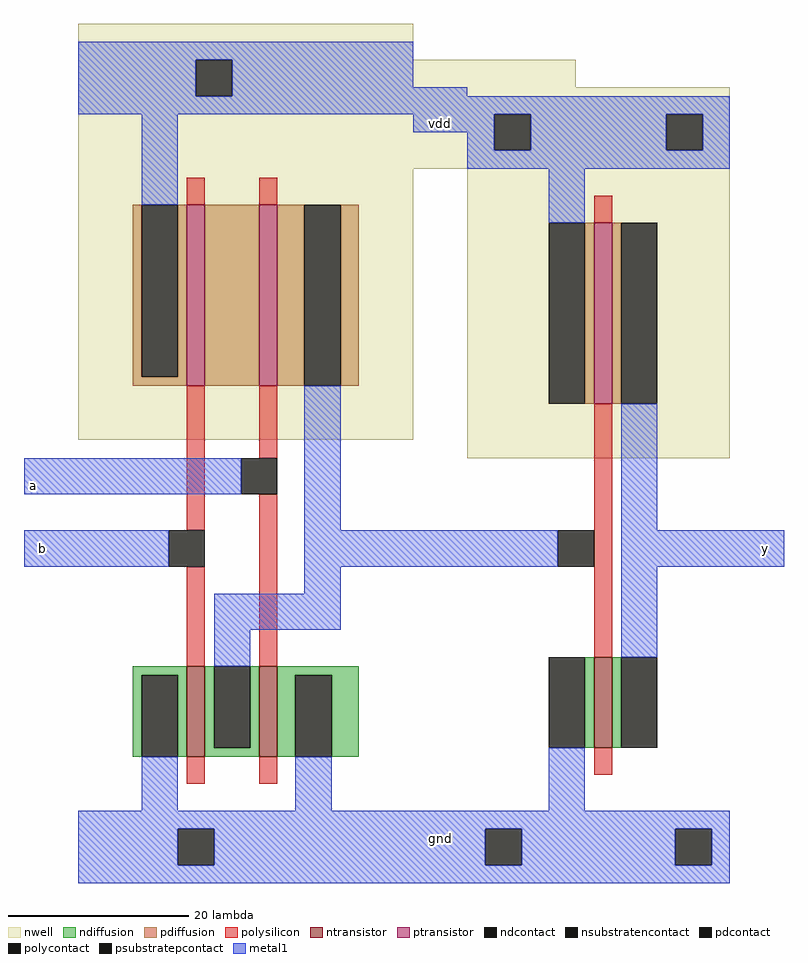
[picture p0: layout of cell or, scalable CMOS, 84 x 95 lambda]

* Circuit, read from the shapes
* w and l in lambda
.subckt or a b gnd vdd y
M1 inverter_0/IN b gnd gnd nfet w=10 l=2
M2 gnd a inverter_0/IN gnd nfet w=10 l=2
M3 y inverter_0/IN gnd gnd nfet w=10 l=2
M4 n1 b vdd vdd pfet w=20 l=2
M5 inverter_0/IN a n1 vdd pfet w=20 l=2
M6 y inverter_0/IN vdd vdd pfet w=20 l=2
.ends

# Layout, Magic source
magic
tech scmos
<< nwell >>
rect 5 92 23 95
rect 5 83 11 92
<< metal1 >>
rect 5 87 11 92
rect -38 47 -32 51
rect -38 39 -32 43
rect 5 39 11 43
rect 40 39 46 43
rect 5 4 11 12
use inverter  inverter_0
transform 1 0 11 0 1 51
box 0 -47 29 41
use nor  nor_0
transform 1 0 -83 0 1 53
box 51 -49 88 46
<< labels >>
rlabel metal1 -37 48 -37 48 3 a
rlabel metal1 -36 41 -36 41 3 b
rlabel metal1 44 41 44 41 7 y
rlabel metal1 8 88 8 88 1 vdd
rlabel metal1 8 9 8 9 1 gnd
<< end >>

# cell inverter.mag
magic
tech scmos
<< nwell >>
rect 0 0 29 41
<< ntransistor >>
rect 14 -32 16 -22
<< ptransistor >>
rect 14 6 16 26
<< ndiffusion >>
rect 13 -32 14 -22
rect 16 -32 17 -22
<< pdiffusion >>
rect 13 6 14 26
rect 16 6 17 26
<< ndcontact >>
rect 9 -32 13 -22
rect 17 -32 21 -22
<< pdcontact >>
rect 9 6 13 26
rect 17 6 21 26
<< psubstratepcontact >>
rect 2 -45 6 -41
rect 23 -45 27 -41
<< nsubstratencontact >>
rect 3 34 7 38
rect 22 34 26 38
<< polysilicon >>
rect 14 26 16 29
rect 14 -22 16 6
rect 14 -35 16 -32
<< polycontact >>
rect 10 -12 14 -8
<< metal1 >>
rect 0 38 29 40
rect 0 34 3 38
rect 7 34 22 38
rect 26 34 29 38
rect 0 32 29 34
rect 9 26 13 32
rect 17 -8 21 6
rect 0 -12 10 -8
rect 17 -12 29 -8
rect 17 -22 21 -12
rect 9 -39 13 -32
rect 0 -41 29 -39
rect 0 -45 2 -41
rect 6 -45 23 -41
rect 27 -45 29 -41
rect 0 -47 29 -45
<< labels >>
rlabel metal1 5 -10 5 -10 3 IN
rlabel metal1 9 36 9 36 5 Vdd
rlabel metal1 9 -43 9 -43 1 gnd
rlabel metal1 25 -10 25 -10 7 OUT
<< end >>

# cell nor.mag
magic
tech scmos
<< nwell >>
rect 51 0 88 46
<< ntransistor >>
rect 63 -35 65 -25
rect 71 -35 73 -25
<< ptransistor >>
rect 63 6 65 26
rect 71 6 73 26
<< ndiffusion >>
rect 57 -26 63 -25
rect 57 -35 58 -26
rect 62 -35 63 -26
rect 65 -34 66 -25
rect 70 -34 71 -25
rect 65 -35 71 -34
rect 73 -26 82 -25
rect 73 -35 75 -26
rect 79 -35 82 -26
<< pdiffusion >>
rect 57 7 58 26
rect 62 7 63 26
rect 57 6 63 7
rect 65 6 71 26
rect 73 6 76 26
rect 80 6 82 26
<< ndcontact >>
rect 58 -35 62 -26
rect 66 -34 70 -25
rect 75 -35 79 -26
<< pdcontact >>
rect 58 7 62 26
rect 76 6 80 26
<< psubstratepcontact >>
rect 62 -47 66 -43
<< nsubstratencontact >>
rect 64 38 68 42
<< polysilicon >>
rect 63 26 65 29
rect 71 26 73 29
rect 63 -10 65 6
rect 71 -2 73 6
rect 63 -25 65 -14
rect 71 -25 73 -6
rect 63 -38 65 -35
rect 71 -38 73 -35
<< polycontact >>
rect 69 -6 73 -2
rect 61 -14 65 -10
<< metal1 >>
rect 51 42 88 44
rect 51 38 64 42
rect 68 38 88 42
rect 51 36 88 38
rect 58 26 62 36
rect 51 -6 69 -2
rect 76 -10 80 6
rect 51 -14 61 -10
rect 76 -14 88 -10
rect 76 -17 80 -14
rect 66 -21 80 -17
rect 66 -25 70 -21
rect 58 -41 62 -35
rect 75 -41 79 -35
rect 51 -43 88 -41
rect 51 -47 62 -43
rect 66 -47 88 -43
rect 51 -49 88 -47
<< labels >>
rlabel metal1 60 39 60 39 1 vdd
rlabel metal1 59 -45 59 -45 1 gnd
rlabel metal1 57 -4 57 -4 1 a
rlabel metal1 57 -12 57 -12 1 b
rlabel metal1 84 -12 84 -12 7 y
<< end >>
